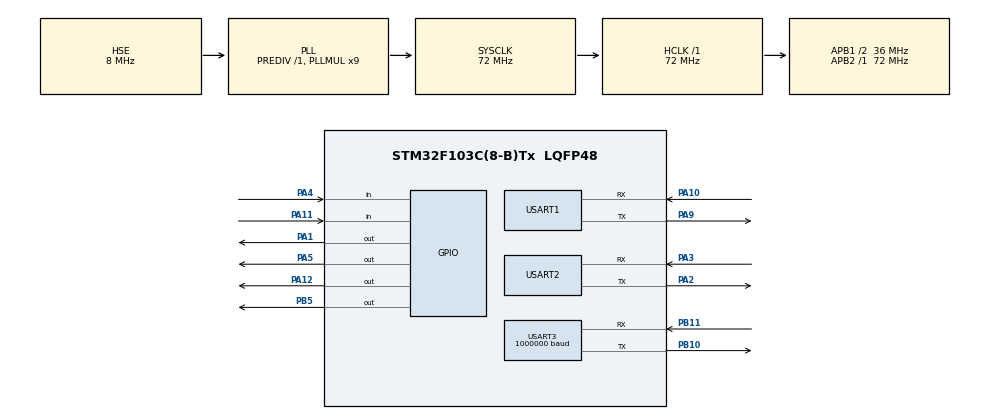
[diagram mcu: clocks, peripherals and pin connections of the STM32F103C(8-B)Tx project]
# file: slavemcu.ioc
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Dma.Request0=USART2_RX
Dma.Request1=USART2_TX
Dma.USART2_RX.0.Direction=DMA_PERIPH_TO_MEMORY
Dma.USART2_RX.0.Instance=DMA1_Channel6
Dma.USART2_RX.0.MemDataAlignment=DMA_MDATAALIGN_BYTE
Dma.USART2_RX.0.MemInc=DMA_MINC_ENABLE
Dma.USART2_RX.0.Mode=DMA_NORMAL
Dma.USART2_RX.0.PeriphDataAlignment=DMA_PDATAALIGN_BYTE
Dma.USART2_RX.0.PeriphInc=DMA_PINC_DISABLE
Dma.USART2_RX.0.Priority=DMA_PRIORITY_LOW
Dma.USART2_TX.1.Direction=DMA_MEMORY_TO_PERIPH
Dma.USART2_TX.1.Instance=DMA1_Channel7
Dma.USART2_TX.1.MemDataAlignment=DMA_MDATAALIGN_BYTE
Dma.USART2_TX.1.MemInc=DMA_MINC_ENABLE
Dma.USART2_TX.1.Mode=DMA_NORMAL
Dma.USART2_TX.1.PeriphDataAlignment=DMA_PDATAALIGN_BYTE
Dma.USART2_TX.1.PeriphInc=DMA_PINC_DISABLE
Dma.USART2_TX.1.Priority=DMA_PRIORITY_LOW
Mcu.Family=STM32F1
Mcu.Name=STM32F103C(8-B)Tx
Mcu.Package=LQFP48
NVIC.DMA1_Channel6_IRQn=true\:0\:0\:false\:false\:true\:false\:true\:true
NVIC.DMA1_Channel7_IRQn=true\:0\:0\:false\:false\:true\:false\:true\:true
NVIC.PriorityGroup=NVIC_PRIORITYGROUP_4
NVIC.USART2_IRQn=true\:0\:0\:false\:false\:true\:true\:true\:true
PA1.Signal=GPIO_Output
PA10.Mode=Asynchronous
PA10.Signal=USART1_RX
PA11.GPIO_PuPd=GPIO_PULLUP
PA11.Signal=GPIO_Input
PA12.PinState=GPIO_PIN_SET
PA12.Signal=GPIO_Output
PA13.Mode=Serial_Wire
PA13.Signal=SYS_JTMS-SWDIO
PA14.Mode=Serial_Wire
PA14.Signal=SYS_JTCK-SWCLK
PA2.Mode=Asynchronous
PA2.Signal=USART2_TX
PA3.Mode=Asynchronous
PA3.Signal=USART2_RX
PA4.GPIO_PuPd=GPIO_PULLUP
PA4.Signal=GPIO_Input
PA5.PinState=GPIO_PIN_SET
PA5.Signal=GPIO_Output
PA9.Mode=Asynchronous
PA9.Signal=USART1_TX
PB0.Signal=S_TIM3_CH3
PB10.Mode=Asynchronous
PB10.Signal=USART3_TX
PB11.Mode=Asynchronous
PB11.Signal=USART3_RX
PB5.PinState=GPIO_PIN_SET
PB5.Signal=GPIO_Output
PD0-OSC_IN.Mode=HSE-External-Oscillator
PD0-OSC_IN.Signal=RCC_OSC_IN
PD1-OSC_OUT.Mode=HSE-External-Oscillator
PD1-OSC_OUT.Signal=RCC_OSC_OUT
ProjectManager.HeapSize=0x200
ProjectManager.StackSize=0x400
ProjectManager.TargetToolchain=STM32CubeIDE
RCC.AHBFreq_Value=72000000
RCC.APB1CLKDivider=RCC_HCLK_DIV2
RCC.APB1Freq_Value=36000000
RCC.APB1TimFreq_Value=72000000
RCC.APB2Freq_Value=72000000
RCC.APB2TimFreq_Value=72000000
RCC.HCLKFreq_Value=72000000
RCC.PLLMUL=RCC_PLL_MUL9
RCC.PLLSourceVirtual=RCC_PLLSOURCE_HSE
RCC.SYSCLKFreq_VALUE=72000000
RCC.SYSCLKSource=RCC_SYSCLKSOURCE_PLLCLK
RCC.USBFreq_Value=72000000
SH.S_TIM3_CH3.0=TIM3_CH3
USART1.VirtualMode=VM_ASYNC
USART2.VirtualMode=VM_ASYNC
USART3.BaudRate=1000000
USART3.VirtualMode=VM_ASYNC
board=custom

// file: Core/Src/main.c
/* USER CODE BEGIN Header */
/**
  ******************************************************************************
  * @file           : main.c
  * @brief          : Slave MCU - 完整电梯从控系统（键盘+光电+门控）
  ******************************************************************************
  * @attention
  *
  * 系统功能：
  * 1. 键盘输入处理（轿厢内呼）
  * 2. 光电传感器检测（楼层到达）
  * 3. 门控系统（舵机控制）
  * 4. RS485通信（与Master MCU通信）
  * 5. Local Blackboard事件管理
  *
  ******************************************************************************
  */
/* USER CODE END Header */
#include "main.h"
#include "dma.h"
#include "usart.h"
#include "gpio.h"

/* USER CODE BEGIN Includes */
#include "../Modules/keyboard/keyboard.h"
#include "../Modules/photo_sensor/photo_sensor.h"
#include "../Modules/servo/servo.h"
#include "../Modules/servo/door_control.h"

/* UART句柄声明 */
extern UART_HandleTypeDef huart1;
extern UART_HandleTypeDef huart2;
extern UART_HandleTypeDef huart3;
#include "../Modules/Local_BB/local_blackboard.h"
#include "../Modules/RS485/rs485.h"
#include "../Modules/RS485/rs485_protocol.h"
#include <stdio.h>
#include <string.h>
#include <stdbool.h>
#include <stdlib.h>
/* USER CODE END Includes */

/* USER CODE BEGIN PD */
#define MAX_FLOORS 3
#define PHOTO_SENSOR_DEBOUNCE_MS 200   // 光电防抖时间
#define KEYBOARD_DEBOUNCE_MS     50    // 按键防抖时间
/* USER CODE END PD */

/* USER CODE BEGIN PV */
/* 系统状态 */
static struct {
    uint8_t current_floor;       // 当前楼层
    uint8_t direction;           // 0=停止, 1=上行, 2=下行
    uint8_t target_floor;        // 目标楼层
    bool door_is_open;           // 门状态
    uint32_t keyboard_count;     // 键盘按键计数
    uint32_t photo_count;        // 光电触发计数
    uint32_t rs485_rx_count;     // RS485接收计数
    uint32_t rs485_tx_count;     // RS485发送计数
    uint32_t door_cmd_count;     // 门控命令计数
    uint32_t last_photo_time;    // 上次光电触发时间
} system_state = {
    .current_floor = 1,
    .direction = DIR_STOP,
    .target_floor = 1,
    .door_is_open = false,
    .last_photo_time = 0
};

/* 光电传感器状态 */
volatile bool sensor_triggered = false;
static photo_sensor_state_t last_sensor_state = PHOTO_SENSOR_CLEAR;

/* 门控状态 */
static DoorControl_t door_controller;
/* USER CODE END PV */

void SystemClock_Config(void);
/* USER CODE BEGIN PFP */
void PhotoSensor_TriggerCallback(void);
void ProcessKeyboard(void);
void ProcessPhotoSensor(void);
void ProcessRS485(void);
void ProcessDoorControl(void);
void SendPhotoSensorEvent(uint8_t floor);
void SendCabinCall(uint8_t floor);
void SendDoorStatus(DoorState_t state);
/* USER CODE END PFP */

int main(void)
{

  /* MCU Configuration--------------------------------------------------------*/

  /* Reset of all peripherals, Initializes the Flash interface and the Systick. */
  HAL_Init();

  /* Configure the system clock */
  SystemClock_Config();

  /* Initialize all configured peripherals */
  MX_GPIO_Init();
  MX_DMA_Init();
  MX_USART3_UART_Init();
  MX_USART1_UART_Init();
  MX_USART2_UART_Init();
  /* USER CODE BEGIN 2 */

  printf("\r\n=== SLAVE MCU - ELEVATOR CONTROL SYSTEM ===\r\n");
  printf("Full Control with Door Module Enabled\r\n");
  printf("Features: Cabin Calls + Photo Sensor + RS485 + Door Control\r\n\r\n");

  /* 初始化RS485通信 */
  rs485_init();
  printf("[RS485] Initialized on USART2\r\n");

  /* 初始化键盘 - 中断模式 */
  Keyboard_Init();
  printf("[KEYBOARD] Initialized (PA11 EXTI)\r\n");
  printf("  S16 (PA4)  -> Floor 1 (Cabin Call)\r\n");
  printf("  S15 (PA8)  -> Floor 2 (Cabin Call)\r\n");
  printf("  S14 (PA5)  -> Floor 3 (Cabin Call)\r\n");
  printf("  S13 (PA12) -> Not Used\r\n\r\n");

  /* 初始化光电传感器 - 中断模式 */
  PhotoSensor_Init();
  photo_sensor_state_t initial_state = PhotoSensor_GetState();
  last_sensor_state = initial_state;
  printf("[PHOTO] Initialized (PB5 EXTI) - State: %s\r\n",
         initial_state == PHOTO_SENSOR_BLOCKED ? "BLOCKED" : "CLEAR");

  /* 验证初始状态 */
  if (initial_state != PHOTO_SENSOR_BLOCKED) {
      printf("[WARNING] Photo sensor should be BLOCKED at floor 1!\r\n");
      printf("         Please check elevator position.\r\n");
  }

  /* 初始化舵机门控系统 */
  printf("[SERVO] Initializing servo communication...\r\n");
  servo_init(&huart3);
  HAL_Delay(100);

  /* 舵机通信测试 */
  printf("\r\n=== SERVO COMMUNICATION TEST ===\r\n");

  /* 测试1: PING */
  printf("1. Testing PING...\r\n");
  if (servo_ping(1)) {
      printf("   SUCCESS: Servo responded to PING\r\n");
  } else {
      printf("   FAILED: No response to PING\r\n");
  }

  /* 测试2: 读取位置 */
  printf("2. Reading position (0x38)...\r\n");
  uint8_t pos_data[2];
  for(int i = 0; i < 3; i++) {
      if (servo_read_reg(1, 0x38, 2, pos_data) == 1) {
          uint16_t pos = pos_data[0] | (pos_data[1] << 8);
          printf("   Try %d: SUCCESS, Position = %u\r\n", i+1, pos);
      } else {
          printf("   Try %d: FAILED\r\n", i+1);
      }
      HAL_Delay(50);
  }

  /* 测试3: 读取移动标志 */
  printf("3. Reading moving flag (0x42)...\r\n");
  uint8_t moving_flag;
  for(int i = 0; i < 3; i++) {
      if (servo_read_reg(1, 0x42, 1, &moving_flag) == 1) {
          printf("   Try %d: SUCCESS, Moving = %d\r\n", i+1, moving_flag);
      } else {
          printf("   Try %d: FAILED\r\n", i+1);
      }
      HAL_Delay(50);
  }

  /* 测试4: 读取电压 */
  printf("4. Reading voltage (0x3E)...\r\n");
  uint8_t voltage;
  if (servo_read_reg(1, 0x3E, 1, &voltage) == 1) {
      printf("   SUCCESS: Voltage = %.1fV\r\n", voltage * 0.1f);
  } else {
      printf("   FAILED\r\n");
  }

  /* 测试5: 读取温度 */
  printf("5. Reading temperature (0x3F)...\r\n");
  uint8_t temp;
  if (servo_read_reg(1, 0x3F, 1, &temp) == 1) {
      printf("   SUCCESS: Temperature = %d°C\r\n", temp);
  } else {
      printf("   FAILED\r\n");
  }

  printf("=== TEST COMPLETE ===\r\n\r\n");

  /* 继续正常初始化 */
  DoorControl_Init(&door_controller, 1);  // 使用舵机ID 1

  /* 初始化Local Blackboard - 中央事件管理 */
  LocalBB_Init();
  printf("[LocalBB] Initialized - Event queue ready\r\n");

  printf("\r\nSystem ready. Waiting for commands...\r\n\r\n");

  /* USER CODE END 2 */

  /* Infinite loop */
  /* USER CODE BEGIN WHILE */
  uint32_t last_status_time = 0;

  while (1)
  {
    uint32_t current_time = HAL_GetTick();

    /* 测试模式已禁用，使用按键测试 */

    /* 处理键盘输入 */
    ProcessKeyboard();

    /* 处理光电传感器 */
    ProcessPhotoSensor();

    /* 处理RS485接收 */
    ProcessRS485();

    /* 处理门控（每50ms更新） */
    static uint32_t last_door_update = 0;
    if (current_time - last_door_update >= 50) {
        last_door_update = current_time;
        ProcessDoorControl();
    }

    /* 处理LocalBB事件队列 */
    LocalBB_Process();

    /* 每5秒打印一次状态 */
    if (current_time - last_status_time >= 5000) {
        last_status_time = current_time;
        printf("[STATUS] Floor=%d, Dir=%s, Door=%s\r\n",
               system_state.current_floor,
               system_state.direction == DIR_UP ? "UP" :
               system_state.direction == DIR_DOWN ? "DN" : "STOP",
               system_state.door_is_open ? "OPEN" : "CLOSED");
        printf("  Keyboard=%lu, Photo=%lu, RS485_RX=%lu, TX=%lu, DoorCmd=%lu\r\n",
               system_state.keyboard_count,
               system_state.photo_count,
               system_state.rs485_rx_count,
               system_state.rs485_tx_count,
               system_state.door_cmd_count);
        LocalBB_PrintStatus();
    }

    /* USER CODE END WHILE */

  }
}

void SystemClock_Config(void)
{
  RCC_OscInitTypeDef RCC_OscInitStruct = {0};
  RCC_ClkInitTypeDef RCC_ClkInitStruct = {0};

  /** Initializes the RCC Oscillators according to the specified parameters
  * in the RCC_OscInitTypeDef structure.
  */
  RCC_OscInitStruct.OscillatorType = RCC_OSCILLATORTYPE_HSE;
  RCC_OscInitStruct.HSEState = RCC_HSE_ON;
  RCC_OscInitStruct.HSEPredivValue = RCC_HSE_PREDIV_DIV1;
  RCC_OscInitStruct.HSIState = RCC_HSI_ON;
  RCC_OscInitStruct.PLL.PLLState = RCC_PLL_ON;
  RCC_OscInitStruct.PLL.PLLSource = RCC_PLLSOURCE_HSE;
  RCC_OscInitStruct.PLL.PLLMUL = RCC_PLL_MUL9;
  if (HAL_RCC_OscConfig(&RCC_OscInitStruct) != HAL_OK)
  {
    Error_Handler();
  }

  /** Initializes the CPU, AHB and APB buses clocks
  */
  RCC_ClkInitStruct.ClockType = RCC_CLOCKTYPE_HCLK|RCC_CLOCKTYPE_SYSCLK
                              |RCC_CLOCKTYPE_PCLK1|RCC_CLOCKTYPE_PCLK2;
  RCC_ClkInitStruct.SYSCLKSource = RCC_SYSCLKSOURCE_PLLCLK;
  RCC_ClkInitStruct.AHBCLKDivider = RCC_SYSCLK_DIV1;
  RCC_ClkInitStruct.APB1CLKDivider = RCC_HCLK_DIV2;
  RCC_ClkInitStruct.APB2CLKDivider = RCC_HCLK_DIV1;

  if (HAL_RCC_ClockConfig(&RCC_ClkInitStruct, FLASH_LATENCY_2) != HAL_OK)
  {
    Error_Handler();
  }
}

/* USER CODE BEGIN 4 */

/**
  * @brief  处理键盘输入
  */
void ProcessKeyboard(void) {
    Keyboard_Handler();

    uint8_t key;
    if (Keyboard_PopKey(&key)) {
        system_state.keyboard_count++;

        printf("\r\n========================================\r\n");
        printf("[KEYBOARD #%lu] Key detected: 0x%02X\r\n", system_state.keyboard_count, key);

        switch(key) {
            case KEY_S16:  // Floor 1
                printf("S16 -> Floor 1 call\r\n");
                // 只使用LocalBB处理，避免重复发送
                LocalBB_AddCabinCall(1);
                break;

            case KEY_S15:  // Floor 2
                printf("S15 -> Floor 2 call\r\n");
                // 只使用LocalBB处理，避免重复发送
                LocalBB_AddCabinCall(2);
                break;

            case KEY_S14:  // Floor 3
                printf("S14 -> Floor 3 call\r\n");
                // 只使用LocalBB处理，避免重复发送
                LocalBB_AddCabinCall(3);
                break;

            case KEY_S13:  // Not used
                printf("S13 pressed (not used)\r\n");
                break;

            default:
                printf("Unknown key (0x%02X)\r\n", key);
                break;
        }
        printf("========================================\r\n");
    }
}

/**
  * @brief  处理光电传感器 - 增强版带防抖和智能楼层检测
  */
void ProcessPhotoSensor(void) {
    uint32_t current_time = HAL_GetTick();

    if (sensor_triggered) {
        sensor_triggered = false;

        /* 防抖处理 */
        if (current_time - system_state.last_photo_time < PHOTO_SENSOR_DEBOUNCE_MS) {
            return;  // 忽略抖动
        }
        system_state.last_photo_time = current_time;

        photo_sensor_state_t current_state = PhotoSensor_GetState();

        /* 只在状态从CLEAR变为BLOCKED时触发（到达楼层） */
        if (current_state == PHOTO_SENSOR_BLOCKED &&
            last_sensor_state == PHOTO_SENSOR_CLEAR) {

            system_state.photo_count++;

            /* 智能楼层检测 - 基于方向和当前楼层 */
            uint8_t detected_floor = system_state.current_floor;

            if (system_state.direction == DIR_UP) {
                /* 上行：检测到的是下一个楼层 */
                detected_floor = system_state.current_floor + 1;
                if (detected_floor > MAX_FLOORS) {
                    detected_floor = MAX_FLOORS;
                }
            }
            else if (system_state.direction == DIR_DOWN) {
                /* 下行：检测到的是下一个楼层 */
                detected_floor = system_state.current_floor - 1;
                if (detected_floor < 1) {
                    detected_floor = 1;
                }
            }
            /* 如果静止，保持当前楼层不变 */

            printf("[PHOTO #%lu] Floor %d detected (Dir=%s, Prev=%d)\r\n",
                   system_state.photo_count, detected_floor,
                   system_state.direction == DIR_UP ? "UP" :
                   system_state.direction == DIR_DOWN ? "DN" : "STOP",
                   system_state.current_floor);

            /* 立即发送光电传感器事件给Master */
            SendPhotoSensorEvent(detected_floor);

            /* 更新当前楼层 */
            system_state.current_floor = detected_floor;

            /* 如果到达目标楼层，更新状态 */
            if (detected_floor == system_state.target_floor) {
                printf("[PHOTO] Target floor %d reached!\r\n", detected_floor);
                /* Master会处理停止，Slave只报告 */
            }

            /* 通过LocalBB处理 */
            LocalBB_AddPhotoSensor();
        }

        last_sensor_state = current_state;
    }
}

/**
  * @brief  处理RS485接收
  */
void ProcessRS485(void) {
    uint8_t rx_buffer[64];
    uint16_t rx_len = rs485_receive_packet(rx_buffer, sizeof(rx_buffer));

    if (rx_len > 0) {
        system_state.rs485_rx_count++;

        /* 调试：打印所有接收到的命令 */
        printf("[RS485 DEBUG] Received CMD=0x%02X, len=%d, data=[%02X %02X %02X %02X]\r\n",
               rx_buffer[0], rx_len,
               rx_buffer[0], rx_buffer[1], rx_buffer[2], rx_buffer[3]);

        /* 方向设置命令 */
        if (rx_buffer[0] == CMD_DIRECTION_SET && rx_len >= 4) {
            uint8_t dir = rx_buffer[1];
            uint8_t cur = rx_buffer[2];
            uint8_t target = rx_buffer[3];

            system_state.direction = dir;
            system_state.current_floor = cur;
            system_state.target_floor = target;

            printf("[RS485 RX] Direction=%s, F%d->F%d\r\n",
                   dir == DIR_UP ? "UP" : dir == DIR_DOWN ? "DN" : "STOP",
                   cur, target);

            /* 通过LocalBB处理 */
            LocalBB_SetDirection(dir, cur, target);
        }
        /* 门控制命令 */
        else if (rx_buffer[0] == CMD_DOOR_OPEN) {
            printf("\r\n[RS485 RX] Door OPEN command received at tick %lu\r\n", HAL_GetTick());
            LocalBB_AddDoorCommand(true);
            system_state.door_cmd_count++;
            printf("[RS485 RX] Total door commands: %lu\r\n", system_state.door_cmd_count);
        }
        else if (rx_buffer[0] == CMD_DOOR_CLOSE) {
            printf("\r\n[RS485 RX] Door CLOSE command received at tick %lu\r\n", HAL_GetTick());
            LocalBB_AddDoorCommand(false);
            system_state.door_cmd_count++;
            printf("[RS485 RX] Total door commands: %lu\r\n", system_state.door_cmd_count);
        }
        /* 状态请求 */
        else if (rx_buffer[0] == CMD_STATUS_REQUEST) {
            /* 发送状态响应 */
            uint8_t tx_buffer[4];
            tx_buffer[0] = CMD_STATUS_RESPONSE;
            tx_buffer[1] = system_state.current_floor;
            tx_buffer[2] = system_state.direction;
            tx_buffer[3] = system_state.door_is_open ? 1 : 0;
            rs485_send_packet_dma(tx_buffer, 4);
            system_state.rs485_tx_count++;
        }
    }
}

/**
  * @brief  处理门控制
  */
void ProcessDoorControl(void) {
    /* 更新门控制器状态 */
    DoorControl_Update(&door_controller);

    /* 处理来自LocalBB的门控命令 */
    LocalBB_DoorCommand_t door_cmd = LocalBB_GetDoorCommand();
    if (door_cmd != DOOR_CMD_NONE) {
        printf("\r\n========== DOOR COMMAND RECEIVED ==========\r\n");
        printf("[MAIN] Tick=%lu, Command=%s\r\n",
               HAL_GetTick(), door_cmd == DOOR_CMD_OPEN ? "OPEN" : "CLOSE");

        if (door_cmd == DOOR_CMD_OPEN) {
            printf("[DOOR] Command: OPEN\r\n");
            DoorControl_Open(&door_controller);
            system_state.door_is_open = true;
            // TIME BASED模式 - 不发送状态反馈
            // SendDoorStatus(DOOR_STATE_OPENING);
            // printf("[MAIN] Sent OPENING status to Master\r\n");
        } else if (door_cmd == DOOR_CMD_CLOSE) {
            printf("[DOOR] Command: CLOSE\r\n");
            DoorControl_Close(&door_controller);
            system_state.door_is_open = false;
            // TIME BASED模式 - 不发送状态反馈
            // SendDoorStatus(DOOR_STATE_CLOSING);
            // printf("[MAIN] Sent CLOSING status to Master\r\n");
        }
        LocalBB_ClearDoorCommand();
        printf("============================================\r\n\r\n");
    }

    /* TIME BASED模式 - 不发送门状态反馈 */
    /* 但仍然更新本地状态用于调试 */
    DoorState_t door_state = DoorControl_GetState(&door_controller);
    static DoorState_t last_door_state = DOOR_STATE_CLOSED;

    if (door_state != last_door_state) {
        last_door_state = door_state;

        switch (door_state) {
            case DOOR_STATE_OPEN:
                printf("[DOOR] Fully opened (local state)\r\n");
                system_state.door_is_open = true;
                // SendDoorStatus(DOOR_STATE_OPEN);
                break;

            case DOOR_STATE_CLOSED:
                printf("[DOOR] Fully closed (local state)\r\n");
                system_state.door_is_open = false;
                // SendDoorStatus(DOOR_STATE_CLOSED);
                break;

            case DOOR_STATE_OPENING:
                printf("[DOOR] Opening (local state)\r\n");
                // SendDoorStatus(DOOR_STATE_OPENING);
                break;
            case DOOR_STATE_CLOSING:
                printf("[DOOR] Closing (local state)\r\n");
                // SendDoorStatus(DOOR_STATE_CLOSING);
                break;
        }
    }
}

/**
  * @brief  发送光电传感器事件
  */
void SendPhotoSensorEvent(uint8_t floor) {
    uint8_t tx_buffer[4];
    tx_buffer[0] = CMD_PHOTO_SENSOR;
    tx_buffer[1] = floor;
    tx_buffer[2] = 0;
    tx_buffer[3] = 0;

    rs485_send_packet_dma(tx_buffer, 4);
    system_state.rs485_tx_count++;
    printf("[RS485 TX] Photo sensor floor %d\r\n", floor);
}

/**
  * @brief  发送轿厢内呼
  */
void SendCabinCall(uint8_t floor) {
    uint8_t tx_buffer[4];
    tx_buffer[0] = CMD_CABIN_CALL;
    tx_buffer[1] = floor;
    tx_buffer[2] = 0;
    tx_buffer[3] = 0;

    printf("[RS485 TX] Sending cabin call for floor %d\r\n", floor);
    printf("  Buffer: [0x%02X, 0x%02X, 0x%02X, 0x%02X]\r\n",
           tx_buffer[0], tx_buffer[1], tx_buffer[2], tx_buffer[3]);

    rs485_status_t status = rs485_send_packet_dma(tx_buffer, 4);
    if (status == RS485_OK) {
        system_state.rs485_tx_count++;
        printf("[RS485 TX] Cabin call sent successfully (count=%lu)\r\n", system_state.rs485_tx_count);
    } else if (status == RS485_BUSY) {
        printf("[RS485 TX] ERROR: RS485 busy!\r\n");
    } else {
        printf("[RS485 TX] ERROR: Send failed (status=%d)\r\n", status);
    }
}

/**
  * @brief  发送门状态
  */
void SendDoorStatus(DoorState_t state) {
    uint8_t tx_buffer[4];
    tx_buffer[0] = CMD_DOOR_STATUS;
    tx_buffer[1] = (uint8_t)state;  // 0=CLOSED, 1=OPENING, 2=OPEN, 3=CLOSING
    tx_buffer[2] = 0;
    tx_buffer[3] = 0;

    rs485_send_packet_dma(tx_buffer, 4);
    system_state.rs485_tx_count++;

    const char* state_str[] = {"CLOSED", "OPENING", "OPEN", "CLOSING"};
    printf("[RS485 TX] Door status: %s\r\n", state_str[state]);
}

/**
  * @brief  光电传感器触发回调
  * @note   在中断中被调用
  */
void PhotoSensor_TriggerCallback(void)
{
    sensor_triggered = true;
}

/**
  * @brief  HAL GPIO EXTI回调 - 统一处理所有GPIO中断
  * @param  GPIO_Pin: 触发中断的引脚
  * @note   这个函数覆盖HAL库的weak函数
  */
void HAL_GPIO_EXTI_Callback(uint16_t GPIO_Pin)
{
    if (GPIO_Pin == GPIO_PIN_11) {
        // PA11 中断 - 键盘按下
        Keyboard_IRQHandler();
    }
    else if (GPIO_Pin == GPIO_PIN_5) {
        // PB5 中断 - 光电传感器
        PhotoSensor_IRQHandler();
    }
}

/**
  * @brief  UART TX DMA完成回调
  */
void HAL_UART_TxCpltCallback(UART_HandleTypeDef *huart)
{
    extern void rs485_tx_complete_callback(void);
    if (huart == &huart2) {
        rs485_tx_complete_callback();
    }
}

/**
  * @brief  UART RX DMA完成回调
  */
void HAL_UART_RxCpltCallback(UART_HandleTypeDef *huart)
{
    // DMA循环模式下不需要处理
}

/* USER CODE END 4 */

void Error_Handler(void)
{
  __disable_irq();
  while (1)
  {
  }
}
